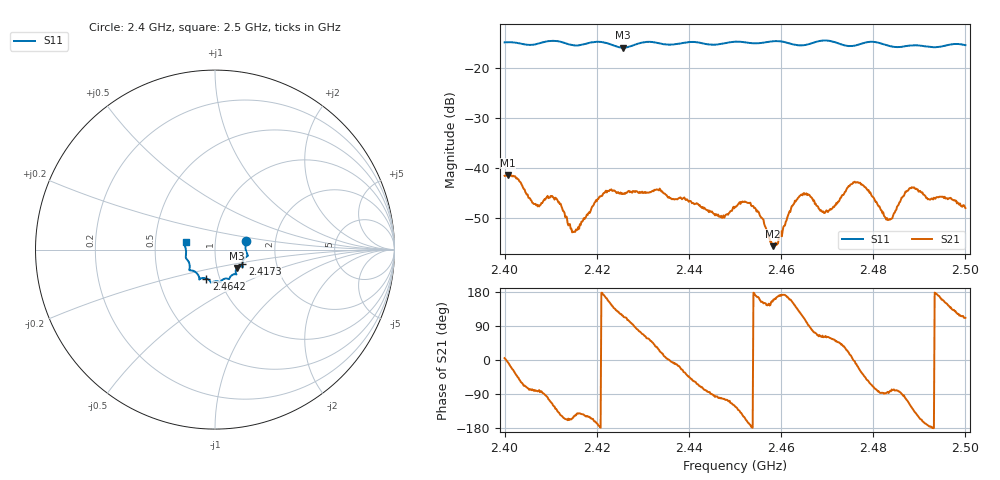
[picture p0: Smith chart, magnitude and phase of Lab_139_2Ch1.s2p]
# Hz S RI R 50
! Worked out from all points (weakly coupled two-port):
!   601 points, 2.4 GHz to 2.5 GHz, reference 50 ohm
!   highest |S21| = -41.36 dB at 2.4007 GHz (marker M1); lowest = -55.6 dB at 2.4582 GHz (marker M2)
!   lowest |S11| = -15.9 dB at 2.4257 GHz (marker M3), VSWR 1.38, Z = 62.4 - j13.1 ohm
!   |S11| at or under -10 dB: start of sweep to end of sweep
!   S12 and S22 are empty: the file has one direction only
!   S11 on the Smith chart (normalised r, x): 2.4 GHz: 1.41, +0.14; 2.4173 GHz: 1.34, -0.23; 2.4642 GHz: 0.86, -0.29; 2.5 GHz: 0.72, +0.06
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2.4e9  0.1732 0.0497  0.00834 0.000722  0 0  0 0
2.400667e9  0.1746 0.047  0.0085 -0.000856  0 0  0 0
2.402833e9  0.174 0.0364  0.00545 -0.00553  0 0  0 0
2.406667e9  0.1721 -0.00687  0.000639 -0.00433  0 0  0 0
2.411e9  0.1832 -0.0342  -0.00314 -0.00395  0 0  0 0
2.414833e9  0.1599 -0.0538  -0.00205 -0.00106  0 0  0 0
2.416667e9  0.153 -0.0746  -0.0023 -0.00177  0 0  0 0
2.417333e9  0.1524 -0.082  -0.00257 -0.00171  0 0  0 0
2.421833e9  0.152 -0.0947  -0.00564 0.00132  0 0  0 0
2.425667e9  0.1226 -0.1021  -0.0025 0.00489  0 0  0 0
2.433333e9  0.1129 -0.1368  0.0053 0.00295  0 0  0 0
2.446833e9  0.0416 -0.1686  -0.000634 -0.00317  0 0  0 0
2.45e9  0.0296 -0.1807  -0.00221 -0.00346  0 0  0 0
2.453833e9  0.0116 -0.1764  -0.00418 -8e-05  0 0  0 0
2.458167e9  -0.0194 -0.1838  -0.00149 0.000721  0 0  0 0
2.464167e9  -0.0483 -0.1611  -0.00299 0.00439  0 0  0 0
2.466667e9  -0.0762 -0.1598  0.000889 0.00496  0 0  0 0
2.469833e9  -0.0876 -0.1666  0.0019 0.00325  0 0  0 0
2.476667e9  -0.1237 -0.1174  0.00689 -0.00213  0 0  0 0
2.483333e9  -0.1407 -0.0895  0.000145 -0.00303  0 0  0 0
2.488333e9  -0.1609 -0.0491  -0.00367 -0.00527  0 0  0 0
2.5e9  -0.1635 0.0422  -0.00144 0.00371  0 0  0 0
